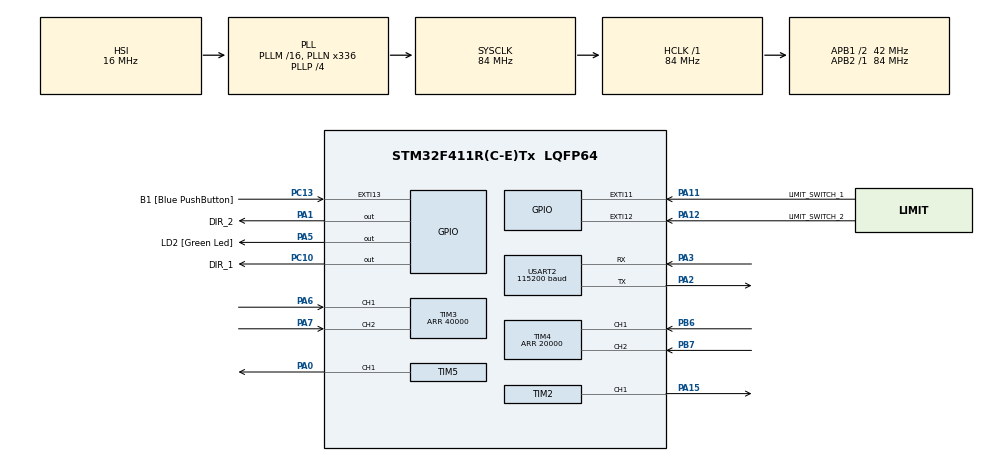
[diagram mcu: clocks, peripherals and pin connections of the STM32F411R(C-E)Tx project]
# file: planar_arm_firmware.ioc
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Dma.Request0=USART2_RX
Dma.Request1=USART2_TX
Dma.USART2_RX.0.Direction=DMA_PERIPH_TO_MEMORY
Dma.USART2_RX.0.FIFOMode=DMA_FIFOMODE_DISABLE
Dma.USART2_RX.0.Instance=DMA1_Stream5
Dma.USART2_RX.0.MemDataAlignment=DMA_MDATAALIGN_BYTE
Dma.USART2_RX.0.MemInc=DMA_MINC_ENABLE
Dma.USART2_RX.0.Mode=DMA_CIRCULAR
Dma.USART2_RX.0.PeriphDataAlignment=DMA_PDATAALIGN_BYTE
Dma.USART2_RX.0.PeriphInc=DMA_PINC_DISABLE
Dma.USART2_RX.0.Priority=DMA_PRIORITY_MEDIUM
Dma.USART2_TX.1.Direction=DMA_MEMORY_TO_PERIPH
Dma.USART2_TX.1.FIFOMode=DMA_FIFOMODE_DISABLE
Dma.USART2_TX.1.Instance=DMA1_Stream6
Dma.USART2_TX.1.MemDataAlignment=DMA_MDATAALIGN_BYTE
Dma.USART2_TX.1.MemInc=DMA_MINC_ENABLE
Dma.USART2_TX.1.Mode=DMA_CIRCULAR
Dma.USART2_TX.1.PeriphDataAlignment=DMA_PDATAALIGN_BYTE
Dma.USART2_TX.1.PeriphInc=DMA_PINC_DISABLE
Dma.USART2_TX.1.Priority=DMA_PRIORITY_MEDIUM
Mcu.Family=STM32F4
Mcu.Name=STM32F411R(C-E)Tx
Mcu.Package=LQFP64
NVIC.DMA1_Stream5_IRQn=true\:0\:0\:false\:false\:true\:false\:true\:true
NVIC.DMA1_Stream6_IRQn=true\:0\:0\:false\:false\:true\:false\:true\:true
NVIC.EXTI15_10_IRQn=true\:0\:0\:false\:false\:true\:true\:true\:true
NVIC.PriorityGroup=NVIC_PRIORITYGROUP_0
NVIC.TIM1_UP_TIM10_IRQn=true\:0\:0\:false\:false\:true\:true\:true\:true
NVIC.TIM3_IRQn=true\:0\:0\:false\:false\:true\:true\:true\:true
NVIC.TIM4_IRQn=true\:0\:0\:false\:false\:true\:true\:true\:true
NVIC.USART2_IRQn=true\:0\:0\:false\:false\:true\:true\:true\:true
PA0-WKUP.Signal=S_TIM5_CH1
PA1.GPIO_Label=DIR_2
PA1.GPIO_PuPd=GPIO_NOPULL
PA1.Signal=GPIO_Output
PA11.GPIO_Label=LIMIT_SWITCH_1
PA11.GPIO_ModeDefaultEXTI=GPIO_MODE_IT_RISING
PA11.GPIO_PuPd=GPIO_PULLUP
PA11.Signal=GPXTI11
PA12.GPIO_Label=LIMIT_SWITCH_2
PA12.GPIO_ModeDefaultEXTI=GPIO_MODE_IT_RISING
PA12.GPIO_PuPd=GPIO_PULLUP
PA12.Signal=GPXTI12
PA13.GPIO_Label=TMS
PA13.Mode=Serial_Wire
PA13.Signal=SYS_JTMS-SWDIO
PA14.GPIO_Label=TCK
PA14.Mode=Serial_Wire
PA14.Signal=SYS_JTCK-SWCLK
PA15.Signal=S_TIM2_CH1_ETR
PA2.GPIO_ModeDefaultPP=GPIO_MODE_AF_PP
PA2.GPIO_PuPd=GPIO_NOPULL
PA2.GPIO_Speed=GPIO_SPEED_FREQ_VERY_HIGH
PA2.Mode=Asynchronous
PA2.Signal=USART2_TX
PA3.GPIO_ModeDefaultPP=GPIO_MODE_AF_PP
PA3.GPIO_PuPd=GPIO_NOPULL
PA3.GPIO_Speed=GPIO_SPEED_FREQ_VERY_HIGH
PA3.Mode=Asynchronous
PA3.Signal=USART2_RX
PA5.GPIO_Label=LD2 [Green Led]
PA5.Signal=GPIO_Output
PA6.Signal=S_TIM3_CH1
PA7.Signal=S_TIM3_CH2
PB3.GPIO_Label=SWO
PB3.Signal=SYS_JTDO-SWO
PB6.Signal=S_TIM4_CH1
PB7.Signal=S_TIM4_CH2
PC10.GPIO_Label=DIR_1
PC10.GPIO_PuPd=GPIO_NOPULL
PC10.Signal=GPIO_Output
PC13-ANTI_TAMP.GPIO_Label=B1 [Blue PushButton]
PC13-ANTI_TAMP.GPIO_ModeDefaultEXTI=GPIO_MODE_IT_FALLING
PC13-ANTI_TAMP.Signal=GPXTI13
PC14-OSC32_IN.Mode=LSE-External-Oscillator
PC14-OSC32_IN.Signal=RCC_OSC32_IN
PC15-OSC32_OUT.Mode=LSE-External-Oscillator
PC15-OSC32_OUT.Signal=RCC_OSC32_OUT
PH0\ -\ OSC_IN.Mode=HSE-External-Clock-Source
PH0\ -\ OSC_IN.Signal=RCC_OSC_IN
PH1\ -\ OSC_OUT.Mode=HSE-External-Clock-Source
PH1\ -\ OSC_OUT.Signal=RCC_OSC_OUT
ProjectManager.HeapSize=0x200
ProjectManager.StackSize=0x400
ProjectManager.TargetToolchain=STM32CubeIDE
RCC.48MHZClocksFreq_Value=84000000
RCC.AHBFreq_Value=84000000
RCC.APB1CLKDivider=RCC_HCLK_DIV2
RCC.APB1Freq_Value=42000000
RCC.APB1TimFreq_Value=84000000
RCC.APB2Freq_Value=84000000
RCC.APB2TimFreq_Value=84000000
RCC.CortexFreq_Value=84000000
RCC.FLatency-AdvancedSettings=FLASH_LATENCY_2
RCC.HCLKFreq_Value=84000000
RCC.HSE_VALUE=8000000
RCC.HSI_VALUE=16000000
RCC.PLLN=336
RCC.PLLP=RCC_PLLP_DIV4
RCC.SYSCLKFreq_VALUE=84000000
RCC.SYSCLKSource=RCC_SYSCLKSOURCE_PLLCLK
RCC.VCOOutputFreq_Value=336000000
SH.S_TIM2_CH1_ETR.0=TIM2_CH1,PWM Generation1 CH1
SH.S_TIM3_CH1.0=TIM3_CH1,Encoder_Interface
SH.S_TIM3_CH2.0=TIM3_CH2,Encoder_Interface
SH.S_TIM4_CH1.0=TIM4_CH1,Encoder_Interface
SH.S_TIM4_CH2.0=TIM4_CH2,Encoder_Interface
SH.S_TIM5_CH1.0=TIM5_CH1,PWM Generation1 CH1
TIM10.Period=52500
TIM10.Prescaler=16
TIM2.Channel-PWM\ Generation1\ CH1=TIM_CHANNEL_1
TIM2.Prescaler=0
TIM3.EncoderMode=TIM_ENCODERMODE_TI12
TIM3.Period=40000
TIM4.EncoderMode=TIM_ENCODERMODE_TI12
TIM4.Period=20000
TIM5.Channel-PWM\ Generation1\ CH1=TIM_CHANNEL_1
TIM5.Prescaler=0
USART2.BaudRate=115200
USART2.VirtualMode=VM_ASYNC
VP_TIM10_VS_ClockSourceINT.Mode=Enable_Timer
board=NUCLEO-F411RE

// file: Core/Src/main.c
/* USER CODE BEGIN Header */
/**
  ******************************************************************************
  * @file           : main.c
  * @brief          : Main program body
  ******************************************************************************
  * @attention
  *
  * Copyright (c) 2023 STMicroelectronics.
  * All rights reserved.
  *
  * This software is licensed under terms that can be found in the LICENSE file
  * in the root directory of this software component.
  * If no LICENSE file comes with this software, it is provided AS-IS.
  *
  ******************************************************************************
  */
/* USER CODE END Header */
#include "main.h"

/* USER CODE BEGIN Includes */
#include<stdint.h>
#include<stdio.h>
#include "custom.h"
#include "pid_controller.h"
#include <math.h>
/* USER CODE END Includes */

TIM_HandleTypeDef htim2;
TIM_HandleTypeDef htim3;
TIM_HandleTypeDef htim4;
TIM_HandleTypeDef htim5;
TIM_HandleTypeDef htim10;

UART_HandleTypeDef huart2;
DMA_HandleTypeDef hdma_usart2_rx;
DMA_HandleTypeDef hdma_usart2_tx;

void SystemClock_Config(void);
static void MX_GPIO_Init(void);
static void MX_DMA_Init(void);
static void MX_USART2_UART_Init(void);
static void MX_TIM3_Init(void);
static void MX_TIM4_Init(void);
static void MX_TIM2_Init(void);
static void MX_TIM5_Init(void);
static void MX_TIM10_Init(void);

int main(void)
{
  /* USER CODE BEGIN 1 */
  rate_t rate;
  float v[2], v_est, a_est;
  char *data = "\n";
  float i = 1*T_C;
  float pos[2];
  float setpoint;

  /* USER CODE END 1 */

  /* MCU Configuration--------------------------------------------------------*/

  /* Reset of all peripherals, Initializes the Flash interface and the Systick. */
  HAL_Init();

  /* Configure the system clock */
  SystemClock_Config();

  /* Initialize all configured peripherals */
  MX_GPIO_Init();
  MX_DMA_Init();
  MX_USART2_UART_Init();
  MX_TIM3_Init();
  MX_TIM4_Init();
  MX_TIM2_Init();
  MX_TIM5_Init();
  MX_TIM10_Init();
  /* USER CODE BEGIN 2 */
  init_man(&manip, &htim3, &htim4,&htim2,&htim5); /* initialize the manipulator struct */

  /* PID controllers*/

  PID_init(&pid_pos1,KP_P1,TI_P1,TD_P1,N1,0); /*initialize the PID controllers for position*/
  PID_init(&pid_pos2,KP_P2,TI_P2,TD_P2,N2,0);

  set_limit(&pid_pos1,-4*M_PI,4*M_PI,-M_PI/2,M_PI/2);/*initialize the PID controllers output limits*/
  set_limit(&pid_pos2,-8*M_PI,8*M_PI,-6*(M_PI/2),6*(M_PI/2));

  /* PI controllers*/
  PID_init(&pid_vel1,KP_V1,TI_V1,0,N1,1); /*initialize the PI controllers for velocity*/
  PID_init(&pid_vel2,KP_V2,TI_V2,0,N2,1);

  set_limit(&pid_vel1,-4*M_PI,4*M_PI,-M_PI/2,M_PI/2);/*initialize the PI controllers output limits*/
  set_limit(&pid_vel2,-8*M_PI,8*M_PI,-6*(M_PI/2),6*(M_PI/2));

  init_rate(&rate, (uint32_t) (T_C*1000)); /* initialize the rate struct */
  HAL_UART_Receive_DMA(&huart2, (uint8_t*) &rx_data, (uint8_t) DATA_SZ); /* DATA_SZ bytes of data for each reception */
  /* USER CODE END 2 */

  /* Infinite loop */
  /* USER CODE BEGIN WHILE */
  /* start timers */
  start_timers(&htim3, &htim4, &htim2, &htim5);
  setup_encoders(&htim10);
  //homing(&manip, &htim2, &htim5, &pid_vel1, &pid_vel2);

  while (1)
  {
    if (homing_triggered){
      init_man(&manip, &htim3, &htim4,&htim2,&htim5);
      homing(&manip, manip.htim_motor1, manip.htim_motor2, &pid_vel1, &pid_vel2,&pid_pos1,&pid_pos2);
      homing_triggered=0;
    }

    update_speeds(&manip);

    /* log data */
    if(log_triggered){
      log_data(&huart2, &manip);
      printf("logData");
      fflush(stdout);
      log_triggered = 0;
    }

    PID_controller_position( &manip, &pid_pos1, &pid_pos2, v);

    rblast(&manip.q0_actual,&pos[0]);
    rblast(&manip.q1_actual,&pos[1]);

    /* apply the inputs to the motors */
    apply_velocity_input(&htim2, &htim5, v, pos);

    /* USER CODE END WHILE */

    /* USER CODE BEGIN 3 */
    rate_sleep(&rate); /* wait with a fixed frequency */
    //HAL_Delay((uint32_t) (T_C*1000));
  }
  /* stop timers */
  stop_timers(&htim3, &htim4, &htim2, &htim5);
  HAL_TIM_Base_Stop_IT(&htim10); /* stop the sampling timer */
  /* USER CODE END 3 */
}

void SystemClock_Config(void)
{
  RCC_OscInitTypeDef RCC_OscInitStruct = {0};
  RCC_ClkInitTypeDef RCC_ClkInitStruct = {0};

  /** Configure the main internal regulator output voltage
  */
  __HAL_RCC_PWR_CLK_ENABLE();
  __HAL_PWR_VOLTAGESCALING_CONFIG(PWR_REGULATOR_VOLTAGE_SCALE1);

  /** Initializes the RCC Oscillators according to the specified parameters
  * in the RCC_OscInitTypeDef structure.
  */
  RCC_OscInitStruct.OscillatorType = RCC_OSCILLATORTYPE_HSI;
  RCC_OscInitStruct.HSIState = RCC_HSI_ON;
  RCC_OscInitStruct.HSICalibrationValue = RCC_HSICALIBRATION_DEFAULT;
  RCC_OscInitStruct.PLL.PLLState = RCC_PLL_ON;
  RCC_OscInitStruct.PLL.PLLSource = RCC_PLLSOURCE_HSI;
  RCC_OscInitStruct.PLL.PLLM = 16;
  RCC_OscInitStruct.PLL.PLLN = 336;
  RCC_OscInitStruct.PLL.PLLP = RCC_PLLP_DIV4;
  RCC_OscInitStruct.PLL.PLLQ = 4;
  if (HAL_RCC_OscConfig(&RCC_OscInitStruct) != HAL_OK)
  {
    Error_Handler();
  }

  /** Initializes the CPU, AHB and APB buses clocks
  */
  RCC_ClkInitStruct.ClockType = RCC_CLOCKTYPE_HCLK|RCC_CLOCKTYPE_SYSCLK
                              |RCC_CLOCKTYPE_PCLK1|RCC_CLOCKTYPE_PCLK2;
  RCC_ClkInitStruct.SYSCLKSource = RCC_SYSCLKSOURCE_PLLCLK;
  RCC_ClkInitStruct.AHBCLKDivider = RCC_SYSCLK_DIV1;
  RCC_ClkInitStruct.APB1CLKDivider = RCC_HCLK_DIV2;
  RCC_ClkInitStruct.APB2CLKDivider = RCC_HCLK_DIV1;

  if (HAL_RCC_ClockConfig(&RCC_ClkInitStruct, FLASH_LATENCY_2) != HAL_OK)
  {
    Error_Handler();
  }
}

static void MX_TIM2_Init(void)
{

  TIM_MasterConfigTypeDef sMasterConfig = {0};
  TIM_OC_InitTypeDef sConfigOC = {0};

  htim2.Instance = TIM2;
  htim2.Init.Prescaler = 0;
  htim2.Init.CounterMode = TIM_COUNTERMODE_UP;
  htim2.Init.Period = 4294967295;
  htim2.Init.ClockDivision = TIM_CLOCKDIVISION_DIV1;
  htim2.Init.AutoReloadPreload = TIM_AUTORELOAD_PRELOAD_DISABLE;
  if (HAL_TIM_PWM_Init(&htim2) != HAL_OK)
  {
    Error_Handler();
  }
  sMasterConfig.MasterOutputTrigger = TIM_TRGO_RESET;
  sMasterConfig.MasterSlaveMode = TIM_MASTERSLAVEMODE_DISABLE;
  if (HAL_TIMEx_MasterConfigSynchronization(&htim2, &sMasterConfig) != HAL_OK)
  {
    Error_Handler();
  }
  sConfigOC.OCMode = TIM_OCMODE_PWM1;
  sConfigOC.Pulse = 0;
  sConfigOC.OCPolarity = TIM_OCPOLARITY_HIGH;
  sConfigOC.OCFastMode = TIM_OCFAST_DISABLE;
  if (HAL_TIM_PWM_ConfigChannel(&htim2, &sConfigOC, TIM_CHANNEL_1) != HAL_OK)
  {
    Error_Handler();
  }
  HAL_TIM_MspPostInit(&htim2);

}

static void MX_TIM3_Init(void)
{

  TIM_Encoder_InitTypeDef sConfig = {0};
  TIM_MasterConfigTypeDef sMasterConfig = {0};

  htim3.Instance = TIM3;
  htim3.Init.Prescaler = 0;
  htim3.Init.CounterMode = TIM_COUNTERMODE_UP;
  htim3.Init.Period = 40000;
  htim3.Init.ClockDivision = TIM_CLOCKDIVISION_DIV1;
  htim3.Init.AutoReloadPreload = TIM_AUTORELOAD_PRELOAD_DISABLE;
  sConfig.EncoderMode = TIM_ENCODERMODE_TI12;
  sConfig.IC1Polarity = TIM_ICPOLARITY_RISING;
  sConfig.IC1Selection = TIM_ICSELECTION_DIRECTTI;
  sConfig.IC1Prescaler = TIM_ICPSC_DIV1;
  sConfig.IC1Filter = 0;
  sConfig.IC2Polarity = TIM_ICPOLARITY_RISING;
  sConfig.IC2Selection = TIM_ICSELECTION_DIRECTTI;
  sConfig.IC2Prescaler = TIM_ICPSC_DIV1;
  sConfig.IC2Filter = 0;
  if (HAL_TIM_Encoder_Init(&htim3, &sConfig) != HAL_OK)
  {
    Error_Handler();
  }
  sMasterConfig.MasterOutputTrigger = TIM_TRGO_RESET;
  sMasterConfig.MasterSlaveMode = TIM_MASTERSLAVEMODE_DISABLE;
  if (HAL_TIMEx_MasterConfigSynchronization(&htim3, &sMasterConfig) != HAL_OK)
  {
    Error_Handler();
  }

}

static void MX_TIM4_Init(void)
{

  TIM_Encoder_InitTypeDef sConfig = {0};
  TIM_MasterConfigTypeDef sMasterConfig = {0};

  htim4.Instance = TIM4;
  htim4.Init.Prescaler = 0;
  htim4.Init.CounterMode = TIM_COUNTERMODE_UP;
  htim4.Init.Period = 20000;
  htim4.Init.ClockDivision = TIM_CLOCKDIVISION_DIV1;
  htim4.Init.AutoReloadPreload = TIM_AUTORELOAD_PRELOAD_DISABLE;
  sConfig.EncoderMode = TIM_ENCODERMODE_TI12;
  sConfig.IC1Polarity = TIM_ICPOLARITY_RISING;
  sConfig.IC1Selection = TIM_ICSELECTION_DIRECTTI;
  sConfig.IC1Prescaler = TIM_ICPSC_DIV1;
  sConfig.IC1Filter = 0;
  sConfig.IC2Polarity = TIM_ICPOLARITY_RISING;
  sConfig.IC2Selection = TIM_ICSELECTION_DIRECTTI;
  sConfig.IC2Prescaler = TIM_ICPSC_DIV1;
  sConfig.IC2Filter = 0;
  if (HAL_TIM_Encoder_Init(&htim4, &sConfig) != HAL_OK)
  {
    Error_Handler();
  }
  sMasterConfig.MasterOutputTrigger = TIM_TRGO_RESET;
  sMasterConfig.MasterSlaveMode = TIM_MASTERSLAVEMODE_DISABLE;
  if (HAL_TIMEx_MasterConfigSynchronization(&htim4, &sMasterConfig) != HAL_OK)
  {
    Error_Handler();
  }

}

static void MX_TIM5_Init(void)
{

  TIM_MasterConfigTypeDef sMasterConfig = {0};
  TIM_OC_InitTypeDef sConfigOC = {0};

  htim5.Instance = TIM5;
  htim5.Init.Prescaler = 0;
  htim5.Init.CounterMode = TIM_COUNTERMODE_UP;
  htim5.Init.Period = 4294967295;
  htim5.Init.ClockDivision = TIM_CLOCKDIVISION_DIV1;
  htim5.Init.AutoReloadPreload = TIM_AUTORELOAD_PRELOAD_DISABLE;
  if (HAL_TIM_PWM_Init(&htim5) != HAL_OK)
  {
    Error_Handler();
  }
  sMasterConfig.MasterOutputTrigger = TIM_TRGO_RESET;
  sMasterConfig.MasterSlaveMode = TIM_MASTERSLAVEMODE_DISABLE;
  if (HAL_TIMEx_MasterConfigSynchronization(&htim5, &sMasterConfig) != HAL_OK)
  {
    Error_Handler();
  }
  sConfigOC.OCMode = TIM_OCMODE_PWM1;
  sConfigOC.Pulse = 0;
  sConfigOC.OCPolarity = TIM_OCPOLARITY_HIGH;
  sConfigOC.OCFastMode = TIM_OCFAST_DISABLE;
  if (HAL_TIM_PWM_ConfigChannel(&htim5, &sConfigOC, TIM_CHANNEL_1) != HAL_OK)
  {
    Error_Handler();
  }
  HAL_TIM_MspPostInit(&htim5);

}

static void MX_TIM10_Init(void)
{

  htim10.Instance = TIM10;
  htim10.Init.Prescaler = 16;
  htim10.Init.CounterMode = TIM_COUNTERMODE_UP;
  htim10.Init.Period = 52500;
  htim10.Init.ClockDivision = TIM_CLOCKDIVISION_DIV1;
  htim10.Init.AutoReloadPreload = TIM_AUTORELOAD_PRELOAD_DISABLE;
  if (HAL_TIM_Base_Init(&htim10) != HAL_OK)
  {
    Error_Handler();
  }

}

static void MX_USART2_UART_Init(void)
{

  huart2.Instance = USART2;
  huart2.Init.BaudRate = 115200;
  huart2.Init.WordLength = UART_WORDLENGTH_8B;
  huart2.Init.StopBits = UART_STOPBITS_1;
  huart2.Init.Parity = UART_PARITY_NONE;
  huart2.Init.Mode = UART_MODE_TX_RX;
  huart2.Init.HwFlowCtl = UART_HWCONTROL_NONE;
  huart2.Init.OverSampling = UART_OVERSAMPLING_16;
  if (HAL_UART_Init(&huart2) != HAL_OK)
  {
    Error_Handler();
  }

}

static void MX_DMA_Init(void)
{

  /* DMA controller clock enable */
  __HAL_RCC_DMA1_CLK_ENABLE();

  /* DMA interrupt init */
  /* DMA1_Stream5_IRQn interrupt configuration */
  HAL_NVIC_SetPriority(DMA1_Stream5_IRQn, 0, 0);
  HAL_NVIC_EnableIRQ(DMA1_Stream5_IRQn);
  /* DMA1_Stream6_IRQn interrupt configuration */
  HAL_NVIC_SetPriority(DMA1_Stream6_IRQn, 0, 0);
  HAL_NVIC_EnableIRQ(DMA1_Stream6_IRQn);

}

static void MX_GPIO_Init(void)
{
  GPIO_InitTypeDef GPIO_InitStruct = {0};

  /* GPIO Ports Clock Enable */
  __HAL_RCC_GPIOC_CLK_ENABLE();
  __HAL_RCC_GPIOH_CLK_ENABLE();
  __HAL_RCC_GPIOA_CLK_ENABLE();
  __HAL_RCC_GPIOB_CLK_ENABLE();

  /*Configure GPIO pin Output Level */
  HAL_GPIO_WritePin(GPIOA, DIR_2_Pin|LD2_Pin, GPIO_PIN_RESET);

  /*Configure GPIO pin Output Level */
  HAL_GPIO_WritePin(DIR_1_GPIO_Port, DIR_1_Pin, GPIO_PIN_RESET);

  /*Configure GPIO pin : B1_Pin */
  GPIO_InitStruct.Pin = B1_Pin;
  GPIO_InitStruct.Mode = GPIO_MODE_IT_FALLING;
  GPIO_InitStruct.Pull = GPIO_NOPULL;
  HAL_GPIO_Init(B1_GPIO_Port, &GPIO_InitStruct);

  /*Configure GPIO pins : DIR_2_Pin LD2_Pin */
  GPIO_InitStruct.Pin = DIR_2_Pin|LD2_Pin;
  GPIO_InitStruct.Mode = GPIO_MODE_OUTPUT_PP;
  GPIO_InitStruct.Pull = GPIO_NOPULL;
  GPIO_InitStruct.Speed = GPIO_SPEED_FREQ_LOW;
  HAL_GPIO_Init(GPIOA, &GPIO_InitStruct);

  /*Configure GPIO pins : LIMIT_SWITCH_1_Pin LIMIT_SWITCH_2_Pin */
  GPIO_InitStruct.Pin = LIMIT_SWITCH_1_Pin|LIMIT_SWITCH_2_Pin;
  GPIO_InitStruct.Mode = GPIO_MODE_IT_RISING;
  GPIO_InitStruct.Pull = GPIO_PULLUP;
  HAL_GPIO_Init(GPIOA, &GPIO_InitStruct);

  /*Configure GPIO pin : DIR_1_Pin */
  GPIO_InitStruct.Pin = DIR_1_Pin;
  GPIO_InitStruct.Mode = GPIO_MODE_OUTPUT_PP;
  GPIO_InitStruct.Pull = GPIO_NOPULL;
  GPIO_InitStruct.Speed = GPIO_SPEED_FREQ_LOW;
  HAL_GPIO_Init(DIR_1_GPIO_Port, &GPIO_InitStruct);

  /* EXTI interrupt init*/
  HAL_NVIC_SetPriority(EXTI15_10_IRQn, 0, 0);
  HAL_NVIC_EnableIRQ(EXTI15_10_IRQn);

}

void Error_Handler(void)
{
  __disable_irq();
  while (1)
  {
  }
}
